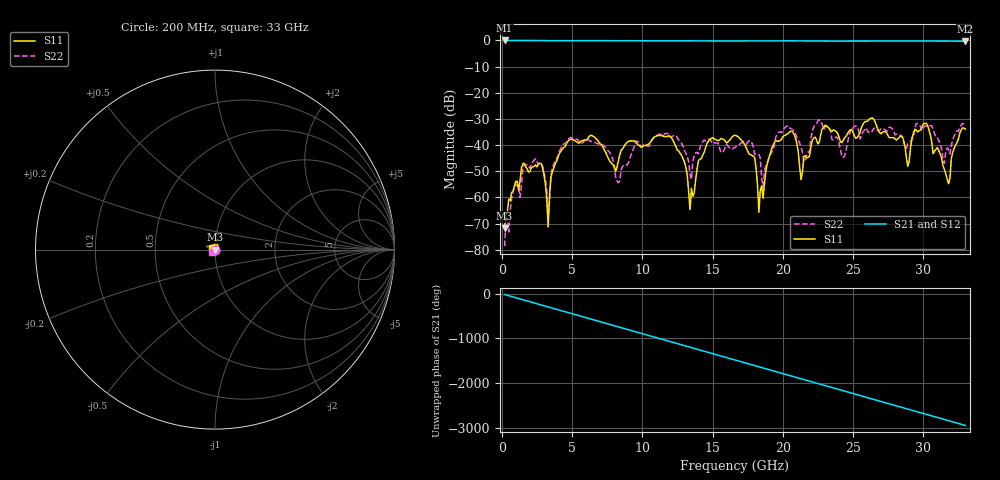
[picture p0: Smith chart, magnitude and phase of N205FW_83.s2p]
# GHZ S RI R 50
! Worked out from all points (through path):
!   329 points, 200 MHz to 33 GHz, reference 50 ohm
!   highest |S21| = -0.01 dB at 200 MHz (marker M1); lowest = -0.3 dB at 33 GHz (marker M2)
!   group delay of S21, straight-line fit = 248 ps
!   lowest |S11| = -71.8 dB at 200 MHz (marker M3), VSWR 1.00, Z = 50 - j0.0177 ohm
!   |S11| at or under -10 dB: start of sweep to end of sweep
!   |S22| runs from -78.6 to -30.3 dB; largest |S21 - S12| = 0.0022
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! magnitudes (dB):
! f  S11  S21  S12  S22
! 200 MHz  -71.8  0.0  0.0  -78.6
! 1.6 GHz  -46.9  0.0  0.0  -47.3
! 2.8 GHz  -47.0  -0.1  -0.1  -47.0
! 3.3 GHz  -71.3  -0.1  -0.1  -67.8
! 3.8 GHz  -47.2  -0.1  -0.1  -46.0
! 5.7 GHz  -38.4  -0.1  -0.1  -39.2
! 8.3 GHz  -45.9  -0.1  -0.1  -54.4
! 11.2 GHz  -36.3  -0.1  -0.1  -35.8
! 13.4 GHz  -64.7  -0.2  -0.2  -51.5
! 14.7 GHz  -38.6  -0.2  -0.2  -37.8
! 16.6 GHz  -36.2  -0.2  -0.2  -40.9
! 18 GHz  -44.7  -0.2  -0.2  -43.5
! 18.3 GHz  -65.7  -0.2  -0.2  -43.6
! 18.6 GHz  -60.3  -0.2  -0.2  -55.8
! 19.5 GHz  -38.2  -0.2  -0.2  -36.9
! 21.3 GHz  -53.2  -0.2  -0.2  -40.8
! 22.1 GHz  -38.1  -0.2  -0.2  -34.7
! 27.6 GHz  -37.2  -0.2  -0.2  -33.1
! 28.9 GHz  -48.2  -0.2  -0.2  -39.5
! 30.2 GHz  -31.6  -0.2  -0.2  -32.7
! 31.8 GHz  -54.7  -0.3  -0.3  -41.6
! 33 GHz  -33.9  -0.3  -0.3  -32.2
